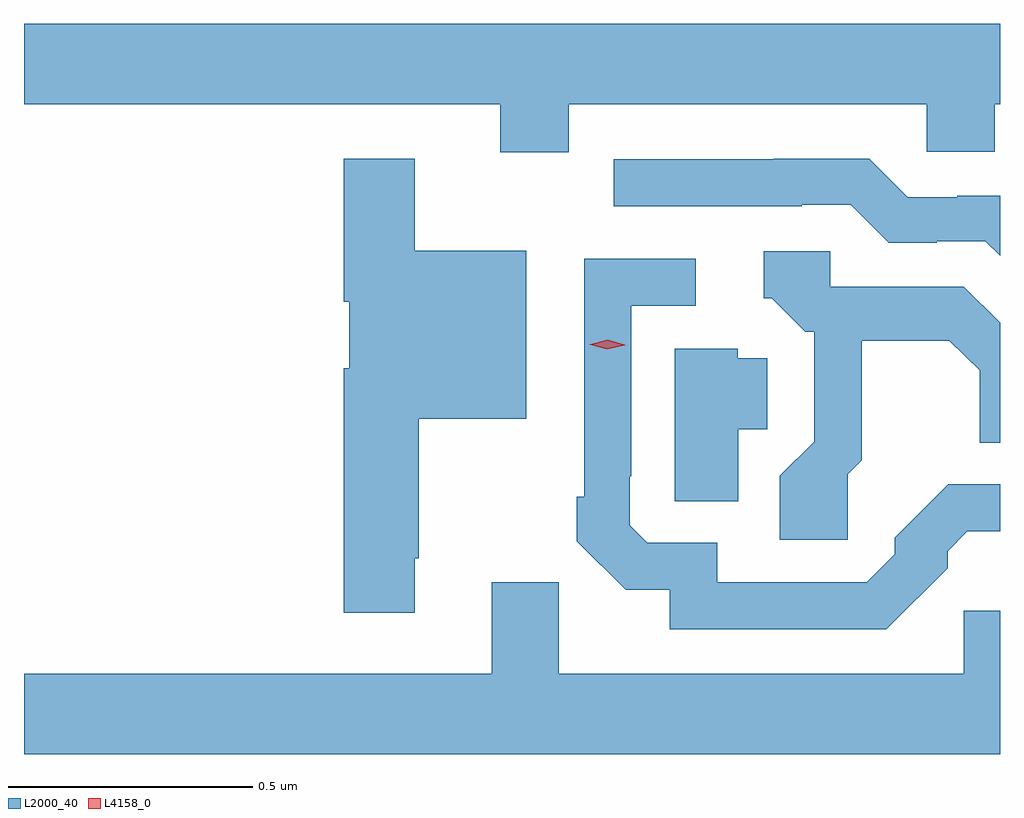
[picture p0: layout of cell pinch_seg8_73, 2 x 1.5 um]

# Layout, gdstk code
import gdstk
lib = gdstk.Library(unit=1e-6, precision=1e-09)
def P(c, l, *ps):  # polygons
    for p in ps: c.add(gdstk.Polygon(p, *l))
L2000_40 = (2000, 40)
L4158_0 = (4158, 0)

pinch_seg8_73 = lib.new_cell('pinch_seg8_73')
P(pinch_seg8_73, L2000_40, [(898.855,1089.86),(899.589,1089.86),(899.589,1089.762),(899.728,1089.762),(899.728,1089.86),(899.739,1089.86),(899.739,1090.024),(897.739,1090.024),(897.739,1089.86),(898.715,1089.86),(898.715,1089.761),(898.855,1089.761)],
  [(899.739,1089.672),(899.651,1089.672),(899.651,1089.669),(899.55,1089.669),(899.471,1089.748),(899.275,1089.748),(899.275,1089.747),(898.947,1089.747),(898.947,1089.651),(899.333,1089.651),(899.333,1089.654),(899.433,1089.654),(899.511,1089.576),(899.609,1089.576),(899.609,1089.579),(899.709,1089.579),(899.739,1089.549)],
  [(898.54,1088.929),(898.548,1088.929),(898.548,1089.215),(898.768,1089.215),(898.768,1089.559),(898.54,1089.559),(898.54,1089.748),(898.394,1089.748),(898.394,1089.455),(898.406,1089.455),(898.406,1089.319),(898.394,1089.319),(898.394,1088.817),(898.54,1088.817)],
  [(899.427,1089.101),(899.456,1089.13),(899.456,1089.375),(899.635,1089.375),(899.697,1089.314),(899.697,1089.166),(899.739,1089.166),(899.739,1089.412),(899.665,1089.486),(899.391,1089.486),(899.391,1089.558),(899.255,1089.558),(899.255,1089.462),(899.271,1089.462),(899.34,1089.393),(899.358,1089.393),(899.358,1089.168),(899.288,1089.098),(899.288,1088.967),(899.427,1088.967)],
  [(899.632,1088.909),(899.632,1088.944),(899.672,1088.984),(899.739,1088.984),(899.739,1089.081),(899.633,1089.081),(899.523,1088.971),(899.523,1088.937),(899.466,1088.88),(899.16,1088.88),(899.16,1088.961),(899.016,1088.961),(898.98,1088.997),(898.98,1089.097),(898.983,1089.097),(898.983,1089.447),(899.116,1089.447),(899.116,1089.543),(898.887,1089.543),(898.887,1089.055),(898.872,1089.055),(898.872,1088.964),(898.972,1088.865),(899.062,1088.865),(899.062,1088.784),(899.506,1088.784)],
  [(899.203,1089.194),(899.262,1089.194),(899.262,1089.339),(899.202,1089.339),(899.202,1089.358),(899.073,1089.358),(899.073,1089.046),(899.203,1089.046)],
  [(899.739,1088.822),(899.665,1088.822),(899.665,1088.692),(898.835,1088.692),(898.835,1088.88),(898.697,1088.88),(898.697,1088.692),(897.739,1088.692),(897.739,1088.528),(899.739,1088.528)])
P(pinch_seg8_73, L4158_0, [(898.934,1089.357),(898.899,1089.367),(898.898,1089.368),(898.899,1089.368),(898.935,1089.377),(898.97,1089.367),(898.971,1089.366),(898.97,1089.366)])

lib.write_gds('pinch_seg8_73.gds')
